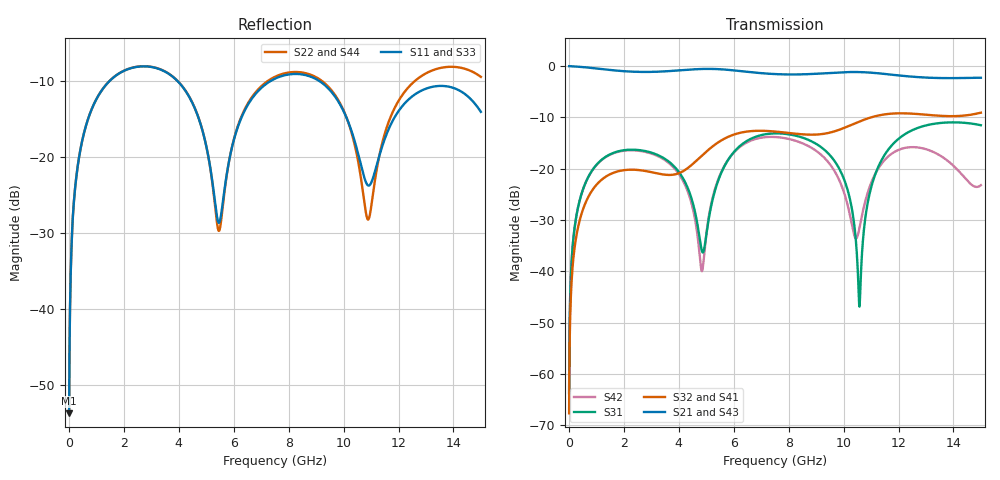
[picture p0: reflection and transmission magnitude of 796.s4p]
! Created with skrf 1.8.0 (http://scikit-rf.org).
# GHz S RI R 50.0
!freq ReS11 ImS11 ReS12 ImS12 ReS13 ImS13
! ReS14 ImS14
! ReS21 ImS21 ReS22 ImS22 ReS23 ImS23
! ReS24 ImS24
! ReS31 ImS31 ReS32 ImS32 ReS33 ImS33
! ReS34 ImS34
! ReS41 ImS41 ReS42 ImS42 ReS43 ImS43
! ReS44 ImS44
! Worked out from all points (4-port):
!   2499 points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, 5 MHz to 15 GHz, reference 50 ohm
!   strongest paths, dB at 5 MHz, 3.476 GHz, 7.19 GHz, 11.1 GHz, 15 GHz:
!     S21: 0.0, -1.0, -1.5, -1.3, -2.3
!     S43: 0.0, -1.0, -1.5, -1.3, -2.3
!     S32: -67.7, -21.1, -12.6, -9.8, -9.1
!     S41: -67.7, -21.2, -12.7, -9.8, -9.1
!     S31: -63.7, -18.0, -13.3, -21.9, -11.5
!     S42: -63.7, -18.3, -13.8, -21.6, -23.2
!   lowest |S11| = -53.7 dB at 5 MHz (marker M1), VSWR 1.00, Z = 50.2 + j0.126 ohm
!   |S11| at or under -10 dB: start of sweep to 1.481 GHz; 3.948 GHz to 7.347 GHz (3.399 GHz wide, 60.2 % of centre); 9.11 GHz to end of sweep
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0.005  0.00164 0.00125  0.9983 -0.0032  8.25e-05 0.000647  -8.01e-05 -0.000406
       0.9983 -0.0032  0.00164 0.00125  -8.01e-05 -0.000406  8.24e-05 0.000647
       8.25e-05 0.000647  -8.01e-05 -0.000406  0.00164 0.00125  0.9983 -0.0032
       -8.01e-05 -0.000406  8.24e-05 0.000647  0.9983 -0.0032  0.00164 0.00125
0.3126303  0.0241 0.0823  0.967 -0.1992  0.0111 0.0384  -0.00916 -0.0239
           0.967 -0.1992  0.0242 0.0823  -0.00918 -0.0238  0.0109 0.0384
           0.0111 0.0384  -0.00918 -0.0238  0.0241 0.0823  0.967 -0.1992
           -0.00916 -0.0239  0.0109 0.0384  0.967 -0.1992  0.0242 0.0823
1.569404  0.2745 0.178  0.5395 -0.7357  0.1292 0.0565  -0.0899 -0.00491
          0.5395 -0.7357  0.2757 0.1771  -0.0901 -0.00467  0.1257 0.0614
          0.1292 0.0565  -0.0901 -0.00467  0.2744 0.1781  0.5395 -0.7357
          -0.0899 -0.00491  0.1257 0.0614  0.5395 -0.7357  0.2759 0.177
5.295957  0.0382 -0.0388  -0.9252 -0.1489  -0.00744 0.0581  -0.0267 0.1682
          -0.9252 -0.1489  0.0337 -0.0397  -0.0229 0.1687  -0.00892 0.0601
          -0.00744 0.0581  -0.0229 0.1687  0.0386 -0.0391  -0.9252 -0.1488
          -0.0267 0.1682  -0.00892 0.0601  -0.9252 -0.1488  0.0333 -0.0397
8.509796  0.3457 -0.0428  0.0194 0.8311  0.1683 -0.1094  0.1997 -0.0741
          0.0194 0.8311  0.354 -0.0582  0.1998 -0.083  0.1653 -0.0622
          0.1683 -0.1094  0.1998 -0.083  0.3449 -0.0391  0.0199 0.8308
          0.1997 -0.0741  0.1653 -0.0622  0.0199 0.8308  0.3563 -0.0619
10.57941  0.0746 -0.0617  0.8158 0.3149  -0.00423 0.00165  0.1032 -0.2697
          0.8158 0.3149  0.0502 -0.0666  0.0889 -0.2748  -0.0225 0.014
          -0.00423 0.00165  0.0889 -0.2748  0.08 -0.0602  0.8159 0.3142
          0.1032 -0.2697  -0.0225 0.014  0.8159 0.3142  0.0449 -0.0687
15  0.1894 -0.0573  -0.3697 -0.676  -0.0932 -0.2485  -0.3076 0.166
    -0.3697 -0.676  0.2871 -0.175  -0.2962 0.1894  0.0478 0.05
    -0.0932 -0.2485  -0.2962 0.1894  0.2025 -0.0519  -0.368 -0.6736
    -0.3076 0.166  0.0478 0.05  -0.368 -0.6736  0.2953 -0.1803
